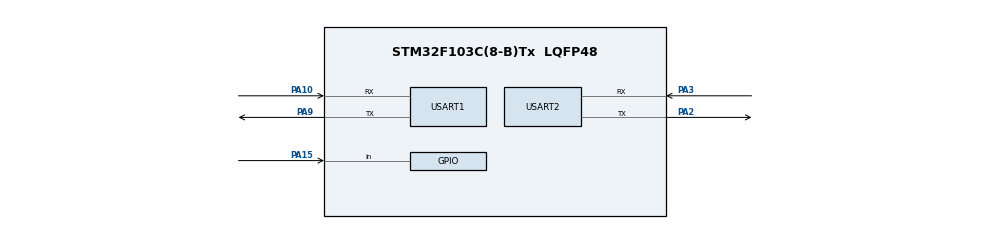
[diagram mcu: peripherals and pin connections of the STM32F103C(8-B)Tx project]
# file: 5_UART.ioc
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Mcu.Family=STM32F1
Mcu.Name=STM32F103C(8-B)Tx
Mcu.Package=LQFP48
NVIC.PriorityGroup=NVIC_PRIORITYGROUP_4
NVIC.USART1_IRQn=true\:0\:0\:false\:false\:true\:true\:true\:true
PA10.Mode=Asynchronous
PA10.Signal=USART1_RX
PA13.Mode=Serial_Wire
PA13.Signal=SYS_JTMS-SWDIO
PA14.Mode=Serial_Wire
PA14.Signal=SYS_JTCK-SWCLK
PA15.Signal=GPIO_Input
PA2.Mode=Asynchronous
PA2.Signal=USART2_TX
PA3.Mode=Asynchronous
PA3.Signal=USART2_RX
PA9.Mode=Asynchronous
PA9.Signal=USART1_TX
ProjectManager.HeapSize=0x200
ProjectManager.StackSize=0x400
ProjectManager.TargetToolchain=CMake
RCC.APB1Freq_Value=8000000
RCC.APB2Freq_Value=8000000
USART1.VirtualMode=VM_ASYNC
USART2.VirtualMode=VM_ASYNC
VP_CRC_VS_CRC.Mode=CRC_Activate
board=custom

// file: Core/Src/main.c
/* USER CODE BEGIN Header */
/**
 ******************************************************************************
 * @file           : main.c
 * @brief          : Main program body
 ******************************************************************************
 * @attention
 *
 * Copyright (c) 2026 STMicroelectronics.
 * All rights reserved.
 *
 * This software is licensed under terms that can be found in the LICENSE file
 * in the root directory of this software component.
 * If no LICENSE file comes with this software, it is provided AS-IS.
 *
 ******************************************************************************
 */
/* USER CODE END Header */
#include "main.h"
#include "crc.h"
#include "usart.h"
#include "gpio.h"
#include "trace.h"

/* USER CODE BEGIN Includes */
#include <stdio.h>
#include <string.h>
/* USER CODE END Includes */

/* USER CODE BEGIN PTD */
typedef enum
{
  BL_GET_VER = 0x51,
  BL_GET_HELP,
  BL_GET_CID,
  BL_GET_RDP_STATUS,
  BL_GO_TO_ADDR = 0x55,
  BL_FLASH_ERASE = 0x56,
  BL_MEM_WRITE = 0x57,
  BL_EN_R_W_PROTECT,
  BL_MEM_READ,
  BL_READ_SECTOR_STATUS,
  BL_OTP_READ,
} enEvent;
/* USER CODE END PTD */

/* USER CODE BEGIN PD */
#define BL_ACK 0xA5
#define BL_NACK 0x7F

#define ADDR_VALID 0x00
#define ADDR_INVALID 0x01

#define SRAM1_BASE 0x20000000
#define SRAM2_BASE 0x2001C000
#define SRAM1_SIZE 112 * 1024 // STM32F446RE has 112KB of SRAM1
#define SRAM1_END (SRAM1_BASE + SRAM1_SIZE)
#define SRAM2_SIZE 16 * 1024 // STM32F446RE has 16KB of SRAM2
#define SRAM2_END (SRAM2_BASE + SRAM2_SIZE)
#define BKPSRAM_BASE 0x40024000
#define FLASH_END 0x0807FFFF
#define BKPSRAM_SIZE 4 * 1024 // STM32F446RE has 4KB of SRAM2
#define BKPSRAM_END (BKPSRAM_BASE + BKPSRAM_SIZE)

#define FLASH_BASE_ADDR 0x08000000UL
#define FLASH_TOTAL_PAGES 64U
#define APP_START_PAGE 32U

#define INVALID_SECTOR 0x01
#define FLASH_ERASE_FAILED 0x02
#define FLASH_TYPEPROGRAM_BYTE 0x00000000

#define BL_RX_BUFFER_SIZE 512
#define TIME_WAIT 50

/* USER CODE END PD */

/* USER CODE BEGIN PV */
unsigned char blRxBuffer[BL_RX_BUFFER_SIZE] = {0};
// char pBuffer[512] = {0};
uint8_t blRxByte;
volatile uint16_t blRxArrIdx = 0;
volatile uint32_t blLastRxTick = 0;
volatile uint8_t blRxNewByteFlag = 0;
volatile uint8_t blRxCompleteFlag = 0;

/* USER CODE END PV */

/* USER CODE BEGIN PFP */
void SystemClock_Config(void);
void bootloader_handle_go_cmd(uint8_t *pBuffer);
uint8_t execute_flash_erase(uint8_t sector_number, uint8_t number_of_sector);

/* USER CODE END PFP */

/* USER CODE BEGIN 0 */
int _write(int file, char *ptr, int len)
{
  (void)file;
  HAL_UART_Transmit(&huart1, (uint8_t *)ptr, len, 1000);
  return len;
}

void HAL_UART_RxCpltCallback(UART_HandleTypeDef *huart)
{
  if (huart->Instance == USART2)
  {
    if (blRxArrIdx < BL_RX_BUFFER_SIZE)
    {
      blRxBuffer[blRxArrIdx++] = blRxByte;

      blRxNewByteFlag = 1;
      blLastRxTick = HAL_GetTick();
    }

    HAL_UART_Receive_IT(&huart2, &blRxByte, 1);
  }
}

void bootloader_uart_start_receive(void)
{
  blRxArrIdx = 0;
  blRxNewByteFlag = 0;
  blRxCompleteFlag = 0;

  HAL_UART_Receive_IT(&huart2, &blRxByte, 1);
}

uint8_t bootloader_uart_check_rx(void)
{
  if (blRxNewByteFlag == 0)
  {
    return 0;
  }

  if (blRxCompleteFlag == 0)
  {
    if ((HAL_GetTick() - blLastRxTick) >= TIME_WAIT)
    {
      blRxCompleteFlag = 1;
    }
  }

  return blRxCompleteFlag;
}

void jump_to_application(uint32_t address)
{
  void (*app_reset_handler)(void);
  printf("BL_DEBUG: bootloader jump to user app\r\n");

  /* �?�?c 4 byte đầu tiên của vector table */
  uint32_t msp_value = *(uint32_t *)address;
  printf("BL_DEBUG: MSP value: %08lX\r\n", msp_value);

  /* Thiết lạp MSP */
  __set_MSP(msp_value);

  /*Lấy địa chỉ resethandle từ 4 byte tiếp theo*/
  uint32_t resethandler_address = *(uint32_t *)(address + 4);

  /* Gán địa chỉ Reset Handler vào con tr�? hàm */
  app_reset_handler = (void *)resethandler_address;

  /* G�?i Reset Handler để chuyển quy�?n thực thi từ Bootloader sang Application */
  app_reset_handler();
}

void bootloader_uart_read_data(void)
{
  bootloader_uart_start_receive();

  while (1)
  {
    if (bootloader_uart_check_rx())
    {
      printf("BL_DEBUG: recieve complete\r\n");

      trace_hex("Rx arr", blRxBuffer, blRxArrIdx);

      switch (blRxBuffer[1])
      {
      case BL_GET_VER:
        bootloader_handle_getver_cmd(blRxBuffer);
        break;

      case BL_GO_TO_ADDR:
        bootloader_handle_go_cmd(blRxBuffer);
        break;

      case BL_FLASH_ERASE:
        bootloader_handle_flash_erase_cmd(blRxBuffer);
        break;

      case BL_MEM_WRITE:
        bootloader_handle_mem_write_cmd(blRxBuffer);
        break;

      default:
        break;
      }

      memset(blRxBuffer, 0, BL_RX_BUFFER_SIZE);

      blRxArrIdx = 0;
      blRxNewByteFlag = 0;
      blRxCompleteFlag = 0;
    }
  }
}

uint8_t bootloader_verify_crc(uint8_t *pData, uint32_t len, uint32_t crc_host)
{
  // uint32_t uwCRCValue = 0xff;
  // for (uint32_t i = 0; i < len; i++)
  // {
  //   uint32_t i_data = pData[i];
  //   uwCRCValue = HAL_CRC_Accumulate(&hcrc, &i_data, 1);
  // }

  // trace("crc: %08X", uwCRCValue);

  // if (uwCRCValue == crc_host)
  // {
  //   // return VERIFY_CRC_SUCCESS;
  //   return 0;
  // }

  return 0;
}

void bootloader_send_ack(uint8_t command_code, uint8_t follow_len)
{
  uint8_t ack_buf[2];
  ack_buf[0] = BL_ACK;
  ack_buf[1] = follow_len;
  HAL_UART_Transmit(&huart2, ack_buf, 2, HAL_MAX_DELAY);
}

void bootloader_uart_write_data(uint8_t *data, uint16_t len)
{
  HAL_UART_Transmit(&huart2, data, len, 1000);
}

void bootloader_send_nack(void)
{
  uint8_t nack = BL_NACK;
  HAL_UART_Transmit(&huart2, &nack, 1, HAL_MAX_DELAY);
}

uint8_t verify_address(uint32_t go_address)
{
  if (go_address >= SRAM1_BASE && go_address <= SRAM1_END)
  {

    return ADDR_VALID;
  }
  else if (go_address >= SRAM2_BASE && go_address <= SRAM2_END)
  {

    return ADDR_VALID;
  }
  else if (go_address >= FLASH_BASE && go_address <= FLASH_END)
  {

    return ADDR_VALID;
  }
  else if (go_address >= BKPSRAM_BASE && go_address <= BKPSRAM_END)
  {

    return ADDR_VALID;
  }
  else
    return ADDR_INVALID;
}

void bootloader_handle_getver_cmd(uint8_t *blRxBuffer)
{
  uint8_t bl_version;
  printf("BL_DEBUG: bootloader get version\r\n");

  uint32_t command_packet_len = blRxBuffer[0] + 1;
  uint32_t host_crc = *((uint32_t *)(blRxBuffer + command_packet_len - 4));

  if (!bootloader_verify_crc(&blRxBuffer[0], command_packet_len - 4, host_crc))
  {
    printf("BL_DEBUG: checksum success\r\n");

    bootloader_send_ack(blRxBuffer[0], 1);

    bl_version = 0x10;
    printf("BL_DEBUG: BL_VER: %d\r\n", bl_version);

    bootloader_uart_write_data(&bl_version, 1);
  }
  else
  {
    printf("BL_DEBUG: checksum fail\r\n");
    bootloader_send_nack();
  }
}

void bootloader_handle_go_cmd(uint8_t *pBuffer)
{
  uint32_t go_address = 0;
  uint8_t addr_valid = ADDR_VALID;
  uint8_t addr_invalid = ADDR_INVALID;

  printf("BL_DEBUG: bootloader go to address\r\n");

  uint32_t command_packet_len = pBuffer[0] + 1;
  uint32_t host_crc = *((uint32_t *)(pBuffer + command_packet_len - 4));

  if (!bootloader_verify_crc(&pBuffer[0], command_packet_len - 4, host_crc))
  {
    printf("BL_DEBUG: checksum success\r\n");

    bootloader_send_ack(pBuffer[0], 1);

    go_address = *((uint32_t *)&pBuffer[2]);
    printf("BL_DEBUG: Go address: %08lX\r\n", go_address);

    if (verify_address(go_address) == ADDR_VALID)
    {
      bootloader_uart_write_data(&addr_valid, 1);
      go_address |= 1;

      void (*lets_jump)(void) = (void *)go_address;
      printf("BL_DEBUG: jumping to go address\r\n");
      lets_jump();
    }
    else
    {
      printf("BL_DEBUG: Go addr invalid\r\n");
      bootloader_uart_write_data(&addr_invalid, 1);
    }
  }
  else
  {
    printf("BL_DEBUG: checksum fail\r\n");
    bootloader_send_nack();
  }
}

void bootloader_handle_flash_erase_cmd(uint8_t *pBuffer)
{
  uint8_t erase_status = 0x00;
  printf("BL_DEBUG: bootloader flash erase\r\n");

  /*Tính tổng độ dài gói lệnh, bao gồm cả byte độ dài*/
  uint32_t command_packet_len = blRxBuffer[0] + 1;
  uint32_t host_crc = *((uint32_t *)(pBuffer + command_packet_len - 4));

  /*Check crc*/
  if (!bootloader_verify_crc(&pBuffer[0], command_packet_len - 4, host_crc))
  {
    printf("BL_DEBUG: checksum success\r\n");
    bootloader_send_ack(pBuffer[0], 1);
    printf("BL_DEBUG: initial sector: %d no of sector: %d\r\n", pBuffer[2], pBuffer[3]);

    erase_status = execute_flash_erase(pBuffer[2], pBuffer[3]);

    printf("BL_DEBUG: flash erase status: %d\r\n", erase_status);

    bootloader_uart_write_data(&erase_status, 1);
  }
  else
  {
    printf("BL_DEBUG: cheksum fail\r\n");
    bootloader_send_nack();
  }
}

uint8_t execute_flash_erase(uint8_t page_number,
                            uint8_t number_of_pages)
{
  FLASH_EraseInitTypeDef eraseInit = {0};
  uint32_t pageError = 0;
  HAL_StatusTypeDef status;

  status = HAL_FLASH_Unlock();

  if (status != HAL_OK)
  {
    return FLASH_ERASE_FAILED;
  }

  /* Kiểm tra yêu cầu Mass Erase */
  if (page_number == 0xFF)
  {
    eraseInit.TypeErase = FLASH_TYPEERASE_MASSERASE;
  }
  else
  {
    /* Kiểm tra page */
    if ((number_of_pages == 0) ||
        (page_number < APP_START_PAGE) ||
        (page_number >= FLASH_TOTAL_PAGES) ||
        (number_of_pages > FLASH_TOTAL_PAGES - page_number))
    {
      HAL_FLASH_Lock();
      return INVALID_SECTOR;
    }

    /* Cấu hình Page Erase */
    eraseInit.TypeErase = FLASH_TYPEERASE_PAGES;
    eraseInit.PageAddress = FLASH_BASE_ADDR +
                            (page_number * PAGESIZE);
    eraseInit.NbPages = number_of_pages;
  }

  /* Xóa Flash */
  status = HAL_FLASHEx_Erase(&eraseInit, &pageError);

  HAL_FLASH_Lock();

  if (status != HAL_OK)
  {
    printf("BL_DEBUG: HAL erase error: %d\r\n", status);
    printf("BL_DEBUG: Page error: %08lX\r\n", pageError);

    return FLASH_ERASE_FAILED;
  }

  return HAL_OK;
}

uint8_t execute_mem_write(uint8_t *pBuffer, uint32_t mem_address, uint32_t len)
{
  uint8_t status = HAL_OK;

  HAL_FLASH_Unlock();

  /* Ghi theo Half-Word (16-bit) - Đảm bảo len là số chẵn */
  for (uint32_t i = 0; i < len; i += 2)
  {
    // Lấy 2 byte từ pBuffer ghép lại thành 16-bit data
    uint16_t data = *((uint16_t *)(&pBuffer[i]));

    status = HAL_FLASH_Program(FLASH_TYPEPROGRAM_HALFWORD, mem_address + i, (uint64_t)data);

    if (status != HAL_OK)
    {
      printf("BL_DEBUG: Flash write error at address: %08lX\r\n", mem_address + i);
      break;
    }
  }

  HAL_FLASH_Lock();

  return status;
}

void bootloader_handle_mem_write_cmd(uint8_t *pBuffer)
{
  uint8_t write_status = 0x00;

  uint8_t payload_len = pBuffer[6];
  uint32_t mem_address = *((uint32_t *)(&pBuffer[2]));

  printf("BL_DEBUG: bootloader mem write\r\n");

  /*Tính tổng độ dài gói lệnh, bao gồm cả byte độ dài*/
  uint32_t command_packet_len = blRxBuffer[0] + 1;
  uint32_t host_crc = *((uint32_t *)(pBuffer + command_packet_len - 4));

  if (!bootloader_verify_crc(&pBuffer[0], command_packet_len - 4, host_crc))
  {
    printf("BL_DEBUG: checksum success\r\n");
    bootloader_send_ack(pBuffer[0], 1);
    printf("BL_DEBUG: mem write address: %08lX\r\n", mem_address);

    /*Kiểm tra địa chỉ bộ nhớ có hợp lệ không*/
    if (verify_address(mem_address) == ADDR_VALID)
    {
      printf("BL_DEBUG: valid mem write address\r\n");
      /*Ghi dữ liệu vào flash, abwts đầu từ vị trí thứ pBuffer[7] (payload)*/
      write_status = execute_mem_write(&pBuffer[7], mem_address, payload_len);
      bootloader_uart_write_data(&write_status, 1);
    }
    else
    {
      printf("BL_DEBUG: invalid mem write address\r\n");
      write_status = ADDR_INVALID;
      bootloader_uart_write_data(&write_status, 1);
    }
  }
  else
  {
    printf("BL_DEBUG: checksum fail\r\n");
    bootloader_send_nack();
  }
}

/* USER CODE END 0 */

int main(void)
{

  /* MCU Configuration--------------------------------------------------------*/

  /* Reset of all peripherals, Initializes the Flash interface and the Systick. */
  HAL_Init();

  /* Configure the system clock */
  SystemClock_Config();

  /* Initialize all configured peripherals */
  MX_GPIO_Init();
  MX_USART1_UART_Init();
  MX_USART2_UART_Init();
  MX_CRC_Init();
  /* USER CODE BEGIN 2 */
  printf("Hello\r\n");
  HAL_UART_Transmit(&huart2, (uint8_t *)"UART2\r\n", strlen("UART2\r\n"), 1000);

  if (HAL_GPIO_ReadPin(GPIOA, GPIO_PIN_15) == GPIO_PIN_RESET)
  // if (HAL_GPIO_ReadPin(GPIOA, GPIO_PIN_15) == GPIO_PIN_SET)
  // if (1)
  {
    printf("BL_DEBUG: Button is pressed...going to BL mode\r\n");
    bootloader_uart_read_data();
  }
  else
  {
    printf("BL_DEBUG: Button is not pressed...executing user app\r\n");
    // bootloader_jump_to_user_app();
    jump_to_application(0x08008000);
  }

  // void bootloader_uart_read_data(void)
  // {
  // }

  /* USER CODE END 2 */

  /* Infinite loop */
  /* USER CODE BEGIN WHILE */
  while (1)
  {
    HAL_Delay(100);
    // HAL_IWDG_Refresh(&hiwdg);
    /* USER CODE END WHILE */

  }
}

void SystemClock_Config(void)
{
  RCC_OscInitTypeDef RCC_OscInitStruct = {0};
  RCC_ClkInitTypeDef RCC_ClkInitStruct = {0};

  /** Initializes the RCC Oscillators according to the specified parameters
   * in the RCC_OscInitTypeDef structure.
   */
  RCC_OscInitStruct.OscillatorType = RCC_OSCILLATORTYPE_HSI;
  RCC_OscInitStruct.HSIState = RCC_HSI_ON;
  RCC_OscInitStruct.HSICalibrationValue = RCC_HSICALIBRATION_DEFAULT;
  RCC_OscInitStruct.PLL.PLLState = RCC_PLL_NONE;
  if (HAL_RCC_OscConfig(&RCC_OscInitStruct) != HAL_OK)
  {
    Error_Handler();
  }

  /** Initializes the CPU, AHB and APB buses clocks
   */
  RCC_ClkInitStruct.ClockType = RCC_CLOCKTYPE_HCLK | RCC_CLOCKTYPE_SYSCLK | RCC_CLOCKTYPE_PCLK1 | RCC_CLOCKTYPE_PCLK2;
  RCC_ClkInitStruct.SYSCLKSource = RCC_SYSCLKSOURCE_HSI;
  RCC_ClkInitStruct.AHBCLKDivider = RCC_SYSCLK_DIV1;
  RCC_ClkInitStruct.APB1CLKDivider = RCC_HCLK_DIV1;
  RCC_ClkInitStruct.APB2CLKDivider = RCC_HCLK_DIV1;

  if (HAL_RCC_ClockConfig(&RCC_ClkInitStruct, FLASH_LATENCY_0) != HAL_OK)
  {
    Error_Handler();
  }
}

void Error_Handler(void)
{
  __disable_irq();
  while (1)
  {
  }
}
